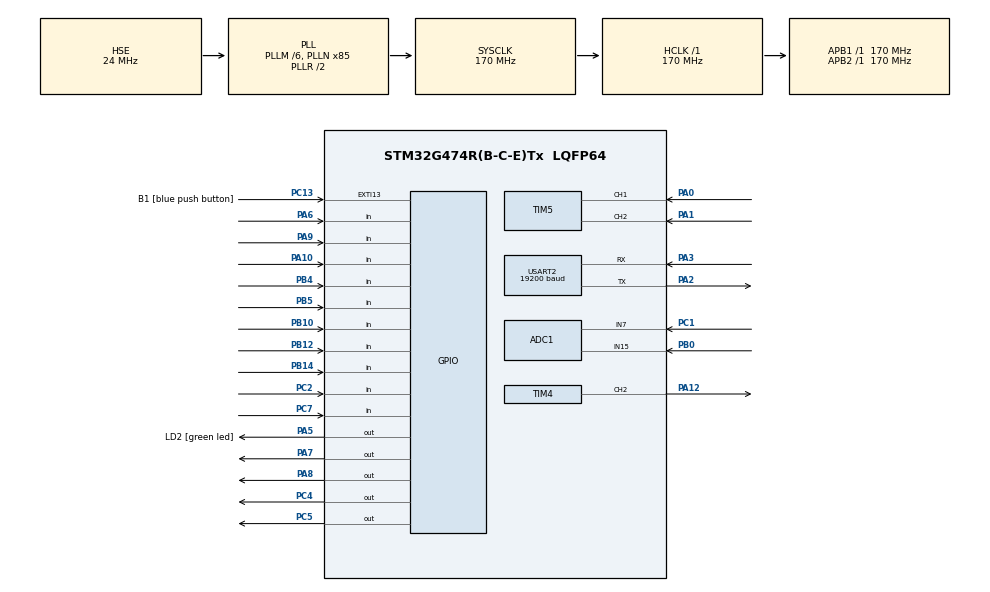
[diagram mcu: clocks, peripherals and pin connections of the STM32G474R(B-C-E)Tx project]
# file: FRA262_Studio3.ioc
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ADC1.Channel-4\#ChannelRegularConversion=ADC_CHANNEL_7
ADC1.Channel-5\#ChannelRegularConversion=ADC_CHANNEL_15
ADC1.ContinuousConvMode=ENABLE
ADC1.DMAContinuousRequests=ENABLE
ADC1.NbrOfConversion=2
ADC1.NbrOfConversionFlag=1
ADC1.OffsetNumber-4\#ChannelRegularConversion=ADC_OFFSET_NONE
ADC1.OffsetNumber-5\#ChannelRegularConversion=ADC_OFFSET_NONE
ADC1.Rank-4\#ChannelRegularConversion=1
ADC1.Rank-5\#ChannelRegularConversion=2
ADC1.SamplingTime-4\#ChannelRegularConversion=ADC_SAMPLETIME_640CYCLES_5
ADC1.SamplingTime-5\#ChannelRegularConversion=ADC_SAMPLETIME_640CYCLES_5
ADC1.master=1
ARM.CMSIS-DSP.1.15.0.CMSISJjDSP=Source
ARM.CMSIS.6.0.0.CMSISJjCORE=true
Dma.ADC1.0.Direction=DMA_PERIPH_TO_MEMORY
Dma.ADC1.0.EventEnable=DISABLE
Dma.ADC1.0.Instance=DMA1_Channel3
Dma.ADC1.0.MemDataAlignment=DMA_MDATAALIGN_HALFWORD
Dma.ADC1.0.MemInc=DMA_MINC_ENABLE
Dma.ADC1.0.Mode=DMA_CIRCULAR
Dma.ADC1.0.PeriphDataAlignment=DMA_PDATAALIGN_HALFWORD
Dma.ADC1.0.PeriphInc=DMA_PINC_DISABLE
Dma.ADC1.0.Polarity=HAL_DMAMUX_REQ_GEN_RISING
Dma.ADC1.0.Priority=DMA_PRIORITY_LOW
Dma.ADC1.0.RequestNumber=1
Dma.ADC1.0.SignalID=NONE
Dma.ADC1.0.SyncEnable=DISABLE
Dma.ADC1.0.SyncPolarity=HAL_DMAMUX_SYNC_NO_EVENT
Dma.ADC1.0.SyncRequestNumber=1
Dma.ADC1.0.SyncSignalID=NONE
Dma.Request0=ADC1
Dma.Request1=USART2_RX
Dma.Request2=USART2_TX
Dma.USART2_RX.1.Direction=DMA_PERIPH_TO_MEMORY
Dma.USART2_RX.1.EventEnable=DISABLE
Dma.USART2_RX.1.Instance=DMA1_Channel2
Dma.USART2_RX.1.MemDataAlignment=DMA_MDATAALIGN_BYTE
Dma.USART2_RX.1.MemInc=DMA_MINC_ENABLE
Dma.USART2_RX.1.Mode=DMA_NORMAL
Dma.USART2_RX.1.PeriphDataAlignment=DMA_PDATAALIGN_BYTE
Dma.USART2_RX.1.PeriphInc=DMA_PINC_DISABLE
Dma.USART2_RX.1.Polarity=HAL_DMAMUX_REQ_GEN_RISING
Dma.USART2_RX.1.Priority=DMA_PRIORITY_LOW
Dma.USART2_RX.1.RequestNumber=1
Dma.USART2_RX.1.SignalID=NONE
Dma.USART2_RX.1.SyncEnable=DISABLE
Dma.USART2_RX.1.SyncPolarity=HAL_DMAMUX_SYNC_NO_EVENT
Dma.USART2_RX.1.SyncRequestNumber=1
Dma.USART2_RX.1.SyncSignalID=NONE
Dma.USART2_TX.2.Direction=DMA_MEMORY_TO_PERIPH
Dma.USART2_TX.2.EventEnable=DISABLE
Dma.USART2_TX.2.Instance=DMA1_Channel1
Dma.USART2_TX.2.MemDataAlignment=DMA_MDATAALIGN_BYTE
Dma.USART2_TX.2.MemInc=DMA_MINC_ENABLE
Dma.USART2_TX.2.Mode=DMA_NORMAL
Dma.USART2_TX.2.PeriphDataAlignment=DMA_PDATAALIGN_BYTE
Dma.USART2_TX.2.PeriphInc=DMA_PINC_DISABLE
Dma.USART2_TX.2.Polarity=HAL_DMAMUX_REQ_GEN_RISING
Dma.USART2_TX.2.Priority=DMA_PRIORITY_LOW
Dma.USART2_TX.2.RequestNumber=1
Dma.USART2_TX.2.SignalID=NONE
Dma.USART2_TX.2.SyncEnable=DISABLE
Dma.USART2_TX.2.SyncPolarity=HAL_DMAMUX_SYNC_NO_EVENT
Dma.USART2_TX.2.SyncRequestNumber=1
Dma.USART2_TX.2.SyncSignalID=NONE
Mcu.Family=STM32G4
Mcu.Name=STM32G474R(B-C-E)Tx
Mcu.Package=LQFP64
NVIC.DMA1_Channel1_IRQn=true\:0\:0\:false\:false\:true\:false\:true\:true
NVIC.DMA1_Channel2_IRQn=true\:0\:0\:false\:false\:true\:false\:true\:true
NVIC.DMA1_Channel3_IRQn=true\:0\:0\:false\:false\:true\:false\:true\:true
NVIC.EXTI15_10_IRQn=true\:0\:0\:false\:false\:true\:true\:true\:true
NVIC.PriorityGroup=NVIC_PRIORITYGROUP_4
NVIC.TIM1_UP_TIM16_IRQn=true\:0\:0\:false\:false\:true\:true\:true\:true
NVIC.TIM2_IRQn=true\:0\:0\:false\:false\:true\:true\:true\:true
NVIC.TIM3_IRQn=true\:0\:0\:false\:false\:true\:true\:true\:true
NVIC.TIM5_IRQn=true\:0\:0\:false\:false\:true\:true\:true\:true
NVIC.USART2_IRQn=true\:0\:0\:false\:false\:true\:true\:true\:true
PA0.Signal=S_TIM5_CH1
PA1.Signal=S_TIM5_CH2
PA10.GPIO_PuPd=GPIO_PULLUP
PA10.Signal=GPIO_Input
PA12.Signal=S_TIM4_CH2
PA13.GPIO_Label=T_SWDIO
PA13.Mode=Serial_Wire
PA13.Signal=SYS_JTMS-SWDIO
PA14.GPIO_Label=T_SWCLK
PA14.Mode=Serial_Wire
PA14.Signal=SYS_JTCK-SWCLK
PA2.Mode=Asynchronous
PA2.Signal=USART2_TX
PA3.Mode=Asynchronous
PA3.Signal=USART2_RX
PA5.GPIO_Label=LD2 [green led]
PA5.GPIO_PuPd=GPIO_NOPULL
PA5.Signal=GPIO_Output
PA6.GPIO_PuPd=GPIO_PULLUP
PA6.Signal=GPIO_Input
PA7.Signal=GPIO_Output
PA8.Signal=GPIO_Output
PA9.GPIO_PuPd=GPIO_PULLUP
PA9.Signal=GPIO_Input
PB0.Mode=IN15-Single-Ended
PB0.Signal=ADC1_IN15
PB10.GPIO_PuPd=GPIO_PULLUP
PB10.Signal=GPIO_Input
PB12.GPIO_PuPd=GPIO_PULLUP
PB12.Signal=GPIO_Input
PB14.Signal=GPIO_Input
PB3.GPIO_Label=T_SWO
PB3.Signal=SYS_JTDO-SWO
PB4.GPIO_PuPd=GPIO_PULLUP
PB4.Signal=GPIO_Input
PB5.GPIO_PuPd=GPIO_PULLUP
PB5.Signal=GPIO_Input
PC1.Mode=IN7-Single-Ended
PC1.Signal=ADC1_IN7
PC13.GPIO_Label=B1 [blue push button]
PC13.Signal=GPXTI13
PC14-OSC32_IN.Mode=LSE-External-Oscillator
PC14-OSC32_IN.Signal=RCC_OSC32_IN
PC15-OSC32_OUT.Mode=LSE-External-Oscillator
PC15-OSC32_OUT.Signal=RCC_OSC32_OUT
PC2.Signal=GPIO_Input
PC4.Signal=GPIO_Output
PC5.Signal=GPIO_Output
PC7.GPIO_PuPd=GPIO_PULLUP
PC7.Signal=GPIO_Input
PF0-OSC_IN.Mode=HSE-External-Oscillator
PF0-OSC_IN.Signal=RCC_OSC_IN
PF1-OSC_OUT.Mode=HSE-External-Oscillator
PF1-OSC_OUT.Signal=RCC_OSC_OUT
ProjectManager.HeapSize=0x200
ProjectManager.StackSize=0x400
ProjectManager.TargetToolchain=STM32CubeIDE
RCC.ADC12Freq_Value=170000000
RCC.ADC345Freq_Value=170000000
RCC.AHBFreq_Value=170000000
RCC.APB1Freq_Value=170000000
RCC.APB1TimFreq_Value=170000000
RCC.APB2Freq_Value=170000000
RCC.APB2TimFreq_Value=170000000
RCC.CortexFreq_Value=170000000
RCC.EXTERNAL_CLOCK_VALUE=12288000
RCC.HCLKFreq_Value=170000000
RCC.HSE_VALUE=24000000
RCC.HSI48_VALUE=48000000
RCC.HSI_VALUE=16000000
RCC.PLLM=RCC_PLLM_DIV6
RCC.PLLN=85
RCC.PLLSourceVirtual=RCC_PLLSOURCE_HSE
RCC.RTCClockSelection=RCC_RTCCLKSOURCE_LSE
RCC.SYSCLKFreq_VALUE=170000000
RCC.SYSCLKSource=RCC_SYSCLKSOURCE_PLLCLK
RCC.USBFreq_Value=170000000
RCC.VCOOutputFreq_Value=340000000
SH.S_TIM4_CH2.0=TIM4_CH2,PWM Generation2 CH2
SH.S_TIM5_CH1.0=TIM5_CH1,Encoder_Interface
SH.S_TIM5_CH2.0=TIM5_CH2,Encoder_Interface
TIM16.PeriodNoDither=1145
TIM16.Prescaler=169
TIM2.PeriodNoDither=4294967295
TIM2.Prescaler=169
TIM3.PeriodNoDither=999
TIM3.Prescaler=169
TIM4.Channel-PWM\ Generation2\ CH2=TIM_CHANNEL_2
TIM4.PeriodNoDither=999
TIM4.Prescaler=169
TIM5.EncoderMode=TIM_ENCODERMODE_TI12
USART2.BaudRate=19200
USART2.Parity=PARITY_EVEN
USART2.VirtualMode-Asynchronous=VM_ASYNC
USART2.WordLength=WORDLENGTH_9B
VP_ARM.CMSIS-DSP_VS_CMSISJjDSP_1.15.0_1.15.0.Mode=CMSISJjDSP
VP_ARM.CMSIS_VS_CMSISJjCORE_6.0.0_6.0.0.Mode=CMSISJjCORE
VP_SYS_VS_DBSignals.Mode=DisableDeadBatterySignals
VP_TIM16_VS_ClockSourceINT.Mode=Enable_Timer
VP_TIM16_VS_OPM.Mode=OPM_bit
VP_TIM2_VS_ClockSourceINT.Mode=Internal
VP_TIM3_VS_ClockSourceINT.Mode=Internal
board=NUCLEO-G474RE

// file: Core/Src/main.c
/* USER CODE BEGIN Header */
/**
  ******************************************************************************
  * @file           : main.c
  * @brief          : Main program body
  ******************************************************************************
  * @attention
  *
  * Copyright (c) 2024 STMicroelectronics.
  * All rights reserved.
  *
  * This software is licensed under terms that can be found in the LICENSE file
  * in the root directory of this software component.
  * If no LICENSE file comes with this software, it is provided AS-IS.
  *
  ******************************************************************************
  */
/* USER CODE END Header */
#include "main.h"

/* USER CODE BEGIN Includes */
#include "Encoder.h"
#include "Controller.h"
#include "math.h"
#include "Joystick.h"
#include "ModeHandler.h"
#include "QuinticTrajectory.h"
#include "ModbusRTU.h"
#include "BaseSystem.h"
#include "KalmanFilter.h"

/* USER CODE END Includes */

ADC_HandleTypeDef hadc1;
DMA_HandleTypeDef hdma_adc1;

TIM_HandleTypeDef htim2;
TIM_HandleTypeDef htim3;
TIM_HandleTypeDef htim4;
TIM_HandleTypeDef htim5;
TIM_HandleTypeDef htim16;

UART_HandleTypeDef huart2;
DMA_HandleTypeDef hdma_usart2_rx;
DMA_HandleTypeDef hdma_usart2_tx;

/* USER CODE BEGIN PV */
uint64_t _micros;
QEIStructureTypeDef QEI;
PIDStructureTypeDef PIDp;
PIDStructureTypeDef PIDv;
JoystickStructureTypeDef Joystick;
QuinticTypeDef quintic;

float SteadyPosition;

float SetPosition;

/* Protocol System */
ModbusHandleTypedef hmodbus;
u16u8_t registerFrame[200];
State status;
GetValue Value;

/* ENUM FOR STATE MACHINE */
uint16_t STATE;
FlagTypeDef Flag;
uint16_t preSTATE;

/* Kalman Filter*/
float KFoutput[3] = {0,0,0};

enum
{
	IDLE ,SETHOME ,JOG , POINT , SETSHELVE ,EMERGENCY
};

uint64_t FwReed;
uint64_t BwReed;
uint64_t Vacuum;
uint8_t EMERread;

uint64_t test;
uint64_t test2;
uint64_t test3;
uint64_t photoUP;
uint64_t photoDOWN;

uint64_t time;
float tempSetpoint;

int pon;

/* USER CODE END PV */

void SystemClock_Config(void);
static void MX_GPIO_Init(void);
static void MX_DMA_Init(void);
static void MX_TIM5_Init(void);
static void MX_TIM2_Init(void);
static void MX_TIM3_Init(void);
static void MX_USART2_UART_Init(void);
static void MX_TIM4_Init(void);
static void MX_ADC1_Init(void);
static void MX_TIM16_Init(void);
/* USER CODE BEGIN PFP */
uint64_t micros();
void NoiseTest1();
void NoiseTest2();
void EmergencyCatcher();
/* USER CODE END PFP */

int main(void)
{

  /* MCU Configuration--------------------------------------------------------*/

  /* Reset of all peripherals, Initializes the Flash interface and the Systick. */
  HAL_Init();

  /* Configure the system clock */
  SystemClock_Config();

  /* Initialize all configured peripherals */
  MX_GPIO_Init();
  MX_DMA_Init();
  MX_TIM5_Init();
  MX_TIM2_Init();
  MX_TIM3_Init();
  MX_USART2_UART_Init();
  MX_TIM4_Init();
  MX_ADC1_Init();
  MX_TIM16_Init();
  /* USER CODE BEGIN 2 */
  /* Initial Modbus Variable */
  hmodbus.huart = &huart2;
  hmodbus.htim = &htim16;
  hmodbus.slaveAddress = 0x15;
  hmodbus.RegisterSize =200;
  Modbus_init(&hmodbus, registerFrame);

  pon = 0;

  HAL_TIM_Base_Start(&htim4);							// Initialize PMW Signal Timer
  HAL_TIM_PWM_Start(&htim4, TIM_CHANNEL_2);

  HAL_ADC_Start_DMA(&hadc1, Joystick.XYBuffer, 200);

  float PID_P_up[3] = {0.68 ,0.000012, 0}; //{0.82 ,0.000038, 0};  {0.68 ,0.000012, 0}
  float PID_P_down[3] = {0.68 ,0.000012, 0}; //{0.88 ,0.000028, 0}

  float PID_V_up[3] = {3.7 ,0.0013, 0.00000054}; //{3.7 ,0.0013, 0.00000054}  {3.0 ,0.00054, 0.00000039}
  float PID_V_down[3] = {3.4 ,0.00085, 0.00000054}; //{3.4 ,0.00085, 0.00000054}

  QEIEncoder_Init(&QEI,&htim5);							// Initialize QEI Encoder
  PIDController_Init(&PIDp, PID_P_up[0], PID_P_up[1], PID_P_up[2] , PID_P_down[0], PID_P_down[1], PID_P_down[2]);	// Initialize Position Controller
  PIDController_Init(&PIDv, PID_V_up[0], PID_V_up[1], PID_V_up[2] , PID_V_down[0], PID_V_down[1], PID_V_down[2]);	// Initialize Velocity Controller

  Joystick.Xpos = 0;

  HAL_GPIO_WritePin(GPIOC, GPIO_PIN_4, SET);			// SET to UPWARD

  QuinticTrajectory_Init(&quintic);
  STATE = IDLE;
  SteadyPosition = QEI.LinearPosition;

	HAL_GPIO_WritePin(GPIOC, GPIO_PIN_5, RESET);
	HAL_GPIO_WritePin(GPIOA, GPIO_PIN_8, RESET);
	HAL_GPIO_WritePin(GPIOA, GPIO_PIN_7, RESET);

  HAL_TIM_Base_Start_IT(&htim2);						// Initialize System Timer
  HAL_TIM_Base_Start_IT(&htim3);						// Initialize 1 ms Timer

  /* USER CODE END 2 */

  /* Infinite loop */
  while (1)
  {

    /* USER CODE BEGIN 3 */
	  /* Protocol Part */
	  status.StateFrame = registerFrame[0x01].U16;
	  pon = 1;
	  Modbus_Protocal_Worker();
	  Heartbeat();
	  Routine(&QEI,&Joystick);
	  switch (STATE) {
		case IDLE:
			if(registerFrame[0x01].U16 == 2) STATE = SETHOME;
			else if(registerFrame[0x01].U16 == 1) STATE = SETSHELVE;
			else if(registerFrame[0x01].U16 == 8) STATE = POINT;
			else if(registerFrame[0x01].U16 == 4) STATE = JOG;
//			SolenoidPull();
//			NoiseTest1();
			PIDControllerCascade_Command2(&PIDp, &PIDv, &QEI, SteadyPosition, 0);
//			if(fabs(SteadyPosition - QEI.LinearPosition) >= 0.05)
				Motor_Control((int32_t)(PIDv.Command));
//			else Motor_Control(102);
			QuinticTrajectory_SetReady(&quintic);
			break;

		case SETHOME:
			SetHome_mode(&Flag, &QEI);
			status.Z_Status = 2;
			registerFrame[0x10].U16 = status.Z_Status; // update Z-axis moving status "Home"
			if(Flag.setHome == 2)	// If finish sethome
			{
				Flag.setHome = 0;
				status.reset = 0;
				registerFrame[0x01].U16 = 0; //reset Base System Status
				status.Z_Status = 0;

				SteadyPosition = QEI.LinearPosition;

				STATE = IDLE;
			}
			break;

		case SETSHELVE:
			SetShelve_mode(&Flag,&Joystick, &QEI);
			status.Z_Status = 1;
			registerFrame[0x10].U16 = status.Z_Status;
			if(Flag.setShelve == 2)	// Finish SetShelve
			{
				Flag.setShelve = 0;
				status.reset = 0;
				registerFrame[0x01].U16 = 0; //reset Base System Status
				status.Z_Status = 0;

				SteadyPosition = QEI.LinearPosition;
				STATE = IDLE;
			}
			break;
		case POINT:
			status.Z_Status = 16;
			GetGoalPoint();
			SetPosition = (float)Value.GoalPoint + QEI.HomePosition;
			SteadyPosition = SetPosition;
			Point_mode(&Flag,&PIDp,&PIDv,&QEI,&quintic,SetPosition);
			if(Flag.Point == 2)				// Finish Point
			{
				Flag.Point = 0;
				registerFrame[0x01].U16 = 0; //reset Base System Status
				status.Z_Status = 0;

				SteadyPosition = quintic.Pf;

				STATE = IDLE;
			}
			break;
		case JOG:
			if(Flag.Jog == 0) GetPick_PlaceOrder(&Joystick);
			Jog_mode(&Flag, &PIDp, &PIDv, &QEI, &quintic);
			if(Flag.Jog == 2)
			{
				Flag.Jog = 0;
				registerFrame[0x01].U16 = 0;
				status.Z_Status = 0;
				SteadyPosition = quintic.Pf;
				STATE = IDLE;
			}
			break;
		case EMERGENCY:
			Motor_Control(0);
			static uint8_t oldStateJoy;
			static uint64_t lastTIMEJoy;

			if(!HAL_GPIO_ReadPin(GPIOB, GPIO_PIN_5))
			{
				STATE = IDLE;
				status.reset = 0;
				registerFrame[0x01].U16 = 0; //reset Base System Status
				status.Z_Status = 0;
				Flag.setHome = 0;
				Flag.setShelve = 0;
				Flag.Point = 0;
				Flag.Jog = 0;
				SteadyPosition = QEI.LinearPosition;
			}

//			if(!HAL_GPIO_ReadPin(GPIOB, GPIO_PIN_5))
//			{
//				 lastTIMEJoy = micros();
//			}
//
//			  if (!oldStateJoy && !HAL_GPIO_ReadPin(GPIOB, GPIO_PIN_5) && (micros()- lastTIMEJoy > 100000))
//			  {
//				STATE = IDLE;
//				status.reset = 0;
//				registerFrame[0x01].U16 = 0; //reset Base System Status
//				status.Z_Status = 0;
//				Flag.setHome = 0;
//				Flag.setShelve = 0;
//				Flag.Point = 0;
//				Flag.Jog = 0;
//			  }
//			  oldStateJoy = HAL_GPIO_ReadPin(GPIOB, GPIO_PIN_5);
			break;
	}
	  FwReed = HAL_GPIO_ReadPin(GPIOA, GPIO_PIN_9);
	  BwReed = HAL_GPIO_ReadPin(GPIOC, GPIO_PIN_7);
	  EMERread = HAL_GPIO_ReadPin(GPIOA, GPIO_PIN_6);

	  photoDOWN = HAL_GPIO_ReadPin(GPIOB, GPIO_PIN_14);

	  EmergencyCatcher();

//	  SolenoidSuck(1);

  }
  /* USER CODE END 3 */
}

void SystemClock_Config(void)
{
  RCC_OscInitTypeDef RCC_OscInitStruct = {0};
  RCC_ClkInitTypeDef RCC_ClkInitStruct = {0};

  /** Configure the main internal regulator output voltage
  */
  HAL_PWREx_ControlVoltageScaling(PWR_REGULATOR_VOLTAGE_SCALE1_BOOST);

  /** Initializes the RCC Oscillators according to the specified parameters
  * in the RCC_OscInitTypeDef structure.
  */
  RCC_OscInitStruct.OscillatorType = RCC_OSCILLATORTYPE_HSE;
  RCC_OscInitStruct.HSEState = RCC_HSE_ON;
  RCC_OscInitStruct.PLL.PLLState = RCC_PLL_ON;
  RCC_OscInitStruct.PLL.PLLSource = RCC_PLLSOURCE_HSE;
  RCC_OscInitStruct.PLL.PLLM = RCC_PLLM_DIV6;
  RCC_OscInitStruct.PLL.PLLN = 85;
  RCC_OscInitStruct.PLL.PLLP = RCC_PLLP_DIV2;
  RCC_OscInitStruct.PLL.PLLQ = RCC_PLLQ_DIV2;
  RCC_OscInitStruct.PLL.PLLR = RCC_PLLR_DIV2;
  if (HAL_RCC_OscConfig(&RCC_OscInitStruct) != HAL_OK)
  {
    Error_Handler();
  }

  /** Initializes the CPU, AHB and APB buses clocks
  */
  RCC_ClkInitStruct.ClockType = RCC_CLOCKTYPE_HCLK|RCC_CLOCKTYPE_SYSCLK
                              |RCC_CLOCKTYPE_PCLK1|RCC_CLOCKTYPE_PCLK2;
  RCC_ClkInitStruct.SYSCLKSource = RCC_SYSCLKSOURCE_PLLCLK;
  RCC_ClkInitStruct.AHBCLKDivider = RCC_SYSCLK_DIV1;
  RCC_ClkInitStruct.APB1CLKDivider = RCC_HCLK_DIV1;
  RCC_ClkInitStruct.APB2CLKDivider = RCC_HCLK_DIV1;

  if (HAL_RCC_ClockConfig(&RCC_ClkInitStruct, FLASH_LATENCY_4) != HAL_OK)
  {
    Error_Handler();
  }
}

static void MX_ADC1_Init(void)
{

  ADC_MultiModeTypeDef multimode = {0};
  ADC_ChannelConfTypeDef sConfig = {0};

  /** Common config
  */
  hadc1.Instance = ADC1;
  hadc1.Init.ClockPrescaler = ADC_CLOCK_SYNC_PCLK_DIV4;
  hadc1.Init.Resolution = ADC_RESOLUTION_12B;
  hadc1.Init.DataAlign = ADC_DATAALIGN_RIGHT;
  hadc1.Init.GainCompensation = 0;
  hadc1.Init.ScanConvMode = ADC_SCAN_ENABLE;
  hadc1.Init.EOCSelection = ADC_EOC_SINGLE_CONV;
  hadc1.Init.LowPowerAutoWait = DISABLE;
  hadc1.Init.ContinuousConvMode = ENABLE;
  hadc1.Init.NbrOfConversion = 2;
  hadc1.Init.DiscontinuousConvMode = DISABLE;
  hadc1.Init.ExternalTrigConv = ADC_SOFTWARE_START;
  hadc1.Init.ExternalTrigConvEdge = ADC_EXTERNALTRIGCONVEDGE_NONE;
  hadc1.Init.DMAContinuousRequests = ENABLE;
  hadc1.Init.Overrun = ADC_OVR_DATA_PRESERVED;
  hadc1.Init.OversamplingMode = DISABLE;
  if (HAL_ADC_Init(&hadc1) != HAL_OK)
  {
    Error_Handler();
  }

  /** Configure the ADC multi-mode
  */
  multimode.Mode = ADC_MODE_INDEPENDENT;
  if (HAL_ADCEx_MultiModeConfigChannel(&hadc1, &multimode) != HAL_OK)
  {
    Error_Handler();
  }

  /** Configure Regular Channel
  */
  sConfig.Channel = ADC_CHANNEL_7;
  sConfig.Rank = ADC_REGULAR_RANK_1;
  sConfig.SamplingTime = ADC_SAMPLETIME_640CYCLES_5;
  sConfig.SingleDiff = ADC_SINGLE_ENDED;
  sConfig.OffsetNumber = ADC_OFFSET_NONE;
  sConfig.Offset = 0;
  if (HAL_ADC_ConfigChannel(&hadc1, &sConfig) != HAL_OK)
  {
    Error_Handler();
  }

  /** Configure Regular Channel
  */
  sConfig.Channel = ADC_CHANNEL_15;
  sConfig.Rank = ADC_REGULAR_RANK_2;
  if (HAL_ADC_ConfigChannel(&hadc1, &sConfig) != HAL_OK)
  {
    Error_Handler();
  }

}

static void MX_TIM2_Init(void)
{

  TIM_ClockConfigTypeDef sClockSourceConfig = {0};
  TIM_MasterConfigTypeDef sMasterConfig = {0};

  htim2.Instance = TIM2;
  htim2.Init.Prescaler = 169;
  htim2.Init.CounterMode = TIM_COUNTERMODE_UP;
  htim2.Init.Period = 4.294967295E9;
  htim2.Init.ClockDivision = TIM_CLOCKDIVISION_DIV1;
  htim2.Init.AutoReloadPreload = TIM_AUTORELOAD_PRELOAD_DISABLE;
  if (HAL_TIM_Base_Init(&htim2) != HAL_OK)
  {
    Error_Handler();
  }
  sClockSourceConfig.ClockSource = TIM_CLOCKSOURCE_INTERNAL;
  if (HAL_TIM_ConfigClockSource(&htim2, &sClockSourceConfig) != HAL_OK)
  {
    Error_Handler();
  }
  sMasterConfig.MasterOutputTrigger = TIM_TRGO_RESET;
  sMasterConfig.MasterSlaveMode = TIM_MASTERSLAVEMODE_DISABLE;
  if (HAL_TIMEx_MasterConfigSynchronization(&htim2, &sMasterConfig) != HAL_OK)
  {
    Error_Handler();
  }

}

static void MX_TIM3_Init(void)
{

  TIM_ClockConfigTypeDef sClockSourceConfig = {0};
  TIM_MasterConfigTypeDef sMasterConfig = {0};

  htim3.Instance = TIM3;
  htim3.Init.Prescaler = 169;
  htim3.Init.CounterMode = TIM_COUNTERMODE_UP;
  htim3.Init.Period = 999;
  htim3.Init.ClockDivision = TIM_CLOCKDIVISION_DIV1;
  htim3.Init.AutoReloadPreload = TIM_AUTORELOAD_PRELOAD_DISABLE;
  if (HAL_TIM_Base_Init(&htim3) != HAL_OK)
  {
    Error_Handler();
  }
  sClockSourceConfig.ClockSource = TIM_CLOCKSOURCE_INTERNAL;
  if (HAL_TIM_ConfigClockSource(&htim3, &sClockSourceConfig) != HAL_OK)
  {
    Error_Handler();
  }
  sMasterConfig.MasterOutputTrigger = TIM_TRGO_RESET;
  sMasterConfig.MasterSlaveMode = TIM_MASTERSLAVEMODE_DISABLE;
  if (HAL_TIMEx_MasterConfigSynchronization(&htim3, &sMasterConfig) != HAL_OK)
  {
    Error_Handler();
  }

}

static void MX_TIM4_Init(void)
{

  TIM_MasterConfigTypeDef sMasterConfig = {0};
  TIM_OC_InitTypeDef sConfigOC = {0};

  htim4.Instance = TIM4;
  htim4.Init.Prescaler = 169;
  htim4.Init.CounterMode = TIM_COUNTERMODE_UP;
  htim4.Init.Period = 999;
  htim4.Init.ClockDivision = TIM_CLOCKDIVISION_DIV1;
  htim4.Init.AutoReloadPreload = TIM_AUTORELOAD_PRELOAD_DISABLE;
  if (HAL_TIM_PWM_Init(&htim4) != HAL_OK)
  {
    Error_Handler();
  }
  sMasterConfig.MasterOutputTrigger = TIM_TRGO_RESET;
  sMasterConfig.MasterSlaveMode = TIM_MASTERSLAVEMODE_DISABLE;
  if (HAL_TIMEx_MasterConfigSynchronization(&htim4, &sMasterConfig) != HAL_OK)
  {
    Error_Handler();
  }
  sConfigOC.OCMode = TIM_OCMODE_PWM1;
  sConfigOC.Pulse = 0;
  sConfigOC.OCPolarity = TIM_OCPOLARITY_HIGH;
  sConfigOC.OCFastMode = TIM_OCFAST_DISABLE;
  if (HAL_TIM_PWM_ConfigChannel(&htim4, &sConfigOC, TIM_CHANNEL_2) != HAL_OK)
  {
    Error_Handler();
  }
  HAL_TIM_MspPostInit(&htim4);

}

static void MX_TIM5_Init(void)
{

  TIM_Encoder_InitTypeDef sConfig = {0};
  TIM_MasterConfigTypeDef sMasterConfig = {0};

  htim5.Instance = TIM5;
  htim5.Init.Prescaler = 0;
  htim5.Init.CounterMode = TIM_COUNTERMODE_UP;
  htim5.Init.Period = 4.294967295E9;
  htim5.Init.ClockDivision = TIM_CLOCKDIVISION_DIV1;
  htim5.Init.AutoReloadPreload = TIM_AUTORELOAD_PRELOAD_DISABLE;
  sConfig.EncoderMode = TIM_ENCODERMODE_TI12;
  sConfig.IC1Polarity = TIM_ICPOLARITY_RISING;
  sConfig.IC1Selection = TIM_ICSELECTION_DIRECTTI;
  sConfig.IC1Prescaler = TIM_ICPSC_DIV1;
  sConfig.IC1Filter = 0;
  sConfig.IC2Polarity = TIM_ICPOLARITY_RISING;
  sConfig.IC2Selection = TIM_ICSELECTION_DIRECTTI;
  sConfig.IC2Prescaler = TIM_ICPSC_DIV1;
  sConfig.IC2Filter = 0;
  if (HAL_TIM_Encoder_Init(&htim5, &sConfig) != HAL_OK)
  {
    Error_Handler();
  }
  sMasterConfig.MasterOutputTrigger = TIM_TRGO_RESET;
  sMasterConfig.MasterSlaveMode = TIM_MASTERSLAVEMODE_DISABLE;
  if (HAL_TIMEx_MasterConfigSynchronization(&htim5, &sMasterConfig) != HAL_OK)
  {
    Error_Handler();
  }

}

static void MX_TIM16_Init(void)
{

  htim16.Instance = TIM16;
  htim16.Init.Prescaler = 169;
  htim16.Init.CounterMode = TIM_COUNTERMODE_UP;
  htim16.Init.Period = 1145;
  htim16.Init.ClockDivision = TIM_CLOCKDIVISION_DIV1;
  htim16.Init.RepetitionCounter = 0;
  htim16.Init.AutoReloadPreload = TIM_AUTORELOAD_PRELOAD_DISABLE;
  if (HAL_TIM_Base_Init(&htim16) != HAL_OK)
  {
    Error_Handler();
  }
  if (HAL_TIM_OnePulse_Init(&htim16, TIM_OPMODE_SINGLE) != HAL_OK)
  {
    Error_Handler();
  }

}

static void MX_USART2_UART_Init(void)
{

  huart2.Instance = USART2;
  huart2.Init.BaudRate = 19200;
  huart2.Init.WordLength = UART_WORDLENGTH_9B;
  huart2.Init.StopBits = UART_STOPBITS_1;
  huart2.Init.Parity = UART_PARITY_EVEN;
  huart2.Init.Mode = UART_MODE_TX_RX;
  huart2.Init.HwFlowCtl = UART_HWCONTROL_NONE;
  huart2.Init.OverSampling = UART_OVERSAMPLING_16;
  huart2.Init.OneBitSampling = UART_ONE_BIT_SAMPLE_DISABLE;
  huart2.Init.ClockPrescaler = UART_PRESCALER_DIV1;
  huart2.AdvancedInit.AdvFeatureInit = UART_ADVFEATURE_NO_INIT;
  if (HAL_UART_Init(&huart2) != HAL_OK)
  {
    Error_Handler();
  }
  if (HAL_UARTEx_SetTxFifoThreshold(&huart2, UART_TXFIFO_THRESHOLD_1_8) != HAL_OK)
  {
    Error_Handler();
  }
  if (HAL_UARTEx_SetRxFifoThreshold(&huart2, UART_RXFIFO_THRESHOLD_1_8) != HAL_OK)
  {
    Error_Handler();
  }
  if (HAL_UARTEx_DisableFifoMode(&huart2) != HAL_OK)
  {
    Error_Handler();
  }

}

static void MX_DMA_Init(void)
{

  /* DMA controller clock enable */
  __HAL_RCC_DMAMUX1_CLK_ENABLE();
  __HAL_RCC_DMA1_CLK_ENABLE();

  /* DMA interrupt init */
  /* DMA1_Channel1_IRQn interrupt configuration */
  HAL_NVIC_SetPriority(DMA1_Channel1_IRQn, 0, 0);
  HAL_NVIC_EnableIRQ(DMA1_Channel1_IRQn);
  /* DMA1_Channel2_IRQn interrupt configuration */
  HAL_NVIC_SetPriority(DMA1_Channel2_IRQn, 0, 0);
  HAL_NVIC_EnableIRQ(DMA1_Channel2_IRQn);
  /* DMA1_Channel3_IRQn interrupt configuration */
  HAL_NVIC_SetPriority(DMA1_Channel3_IRQn, 0, 0);
  HAL_NVIC_EnableIRQ(DMA1_Channel3_IRQn);

}

static void MX_GPIO_Init(void)
{
  GPIO_InitTypeDef GPIO_InitStruct = {0};

  /* GPIO Ports Clock Enable */
  __HAL_RCC_GPIOC_CLK_ENABLE();
  __HAL_RCC_GPIOF_CLK_ENABLE();
  __HAL_RCC_GPIOA_CLK_ENABLE();
  __HAL_RCC_GPIOB_CLK_ENABLE();

  /*Configure GPIO pin Output Level */
  HAL_GPIO_WritePin(GPIOA, LD2_Pin|GPIO_PIN_7|GPIO_PIN_8, GPIO_PIN_RESET);

  /*Configure GPIO pin Output Level */
  HAL_GPIO_WritePin(GPIOC, GPIO_PIN_4|GPIO_PIN_5, GPIO_PIN_RESET);

  /*Configure GPIO pin : B1_Pin */
  GPIO_InitStruct.Pin = B1_Pin;
  GPIO_InitStruct.Mode = GPIO_MODE_IT_RISING;
  GPIO_InitStruct.Pull = GPIO_NOPULL;
  HAL_GPIO_Init(B1_GPIO_Port, &GPIO_InitStruct);

  /*Configure GPIO pin : PC2 */
  GPIO_InitStruct.Pin = GPIO_PIN_2;
  GPIO_InitStruct.Mode = GPIO_MODE_INPUT;
  GPIO_InitStruct.Pull = GPIO_NOPULL;
  HAL_GPIO_Init(GPIOC, &GPIO_InitStruct);

  /*Configure GPIO pins : LD2_Pin PA7 PA8 */
  GPIO_InitStruct.Pin = LD2_Pin|GPIO_PIN_7|GPIO_PIN_8;
  GPIO_InitStruct.Mode = GPIO_MODE_OUTPUT_PP;
  GPIO_InitStruct.Pull = GPIO_NOPULL;
  GPIO_InitStruct.Speed = GPIO_SPEED_FREQ_LOW;
  HAL_GPIO_Init(GPIOA, &GPIO_InitStruct);

  /*Configure GPIO pins : PA6 PA9 PA10 */
  GPIO_InitStruct.Pin = GPIO_PIN_6|GPIO_PIN_9|GPIO_PIN_10;
  GPIO_InitStruct.Mode = GPIO_MODE_INPUT;
  GPIO_InitStruct.Pull = GPIO_PULLUP;
  HAL_GPIO_Init(GPIOA, &GPIO_InitStruct);

  /*Configure GPIO pins : PC4 PC5 */
  GPIO_InitStruct.Pin = GPIO_PIN_4|GPIO_PIN_5;
  GPIO_InitStruct.Mode = GPIO_MODE_OUTPUT_PP;
  GPIO_InitStruct.Pull = GPIO_NOPULL;
  GPIO_InitStruct.Speed = GPIO_SPEED_FREQ_LOW;
  HAL_GPIO_Init(GPIOC, &GPIO_InitStruct);

  /*Configure GPIO pins : PB10 PB12 PB4 PB5 */
  GPIO_InitStruct.Pin = GPIO_PIN_10|GPIO_PIN_12|GPIO_PIN_4|GPIO_PIN_5;
  GPIO_InitStruct.Mode = GPIO_MODE_INPUT;
  GPIO_InitStruct.Pull = GPIO_PULLUP;
  HAL_GPIO_Init(GPIOB, &GPIO_InitStruct);

  /*Configure GPIO pin : PB14 */
  GPIO_InitStruct.Pin = GPIO_PIN_14;
  GPIO_InitStruct.Mode = GPIO_MODE_INPUT;
  GPIO_InitStruct.Pull = GPIO_NOPULL;
  HAL_GPIO_Init(GPIOB, &GPIO_InitStruct);

  /*Configure GPIO pin : PC7 */
  GPIO_InitStruct.Pin = GPIO_PIN_7;
  GPIO_InitStruct.Mode = GPIO_MODE_INPUT;
  GPIO_InitStruct.Pull = GPIO_PULLUP;
  HAL_GPIO_Init(GPIOC, &GPIO_InitStruct);

  /* EXTI interrupt init*/
  HAL_NVIC_SetPriority(EXTI15_10_IRQn, 0, 0);
  HAL_NVIC_EnableIRQ(EXTI15_10_IRQn);

}

/* USER CODE BEGIN 4 */

void HAL_TIM_PeriodElapsedCallback(TIM_HandleTypeDef *htim)	// Timer Interrupt
{
	if(htim == &htim2)
	{
		_micros += 1;
	}
	if(htim == &htim3) // [1 microseconds]
	{
		QEIEncoder_Update(&QEI, &htim5, micros());
		if(Flag.TrejectoryGen == 1)
		{
			QuinticTrajectory_Generator(&quintic, QEI.LinearPosition, SetPosition, 2);
		}
		kalman_predict(&KFoutput, &P_est, &Ak, &G, Q);
		kalman_update(&KFoutput, &P_est, &Ck, R, QEI.LinearPosition);

	}
}

void HAL_GPIO_EXTI_Callback(uint16_t GPIO_Pin)				//	External Interrupt
{
	if(GPIO_Pin == GPIO_PIN_13){			// Blue Switch
//		STATE = IDLE;
//		status.reset = 0;
//		registerFrame[0x01].U16 = 0; //reset Base System Status
//		status.Z_Status = 0;
//		Flag.setHome = 0;
//		Flag.setShelve = 0;
//		Flag.Point =0;
//		Flag.Jog;
	}
}

void EmergencyCatcher()
{
	static uint8_t oldState;
	static uint64_t lastTIME;

	  if (oldState && HAL_GPIO_ReadPin(GPIOA, GPIO_PIN_6) && (micros()- lastTIME > 100000))
	  {
		  STATE = EMERGENCY;
		  lastTIME = micros();
	  }
	  oldState = HAL_GPIO_ReadPin(GPIOA, GPIO_PIN_6);

}

uint64_t micros()	// System Time
{
	return __HAL_TIM_GET_COUNTER(&htim2)+_micros;
}

void NoiseTest1()
{
//	uint64_t timestamp;
//	if(micros() > timestamp)
//	{
//		timestamp = micros() + 600000;
//		SolenoidPull();
//	}
//	else SolenoidPush();

	  SolenoidPush();
	  HAL_Delay(600);
	  SolenoidPull();
	  HAL_Delay(600);
}

void NoiseTest2()
{
	  SolenoidSuck(0);
	  HAL_Delay(600);
	  SolenoidSuck(1);
	  HAL_Delay(600);
}

/* USER CODE END 4 */

void Error_Handler(void)
{
  __disable_irq();
  while (1)
  {
  }
}
